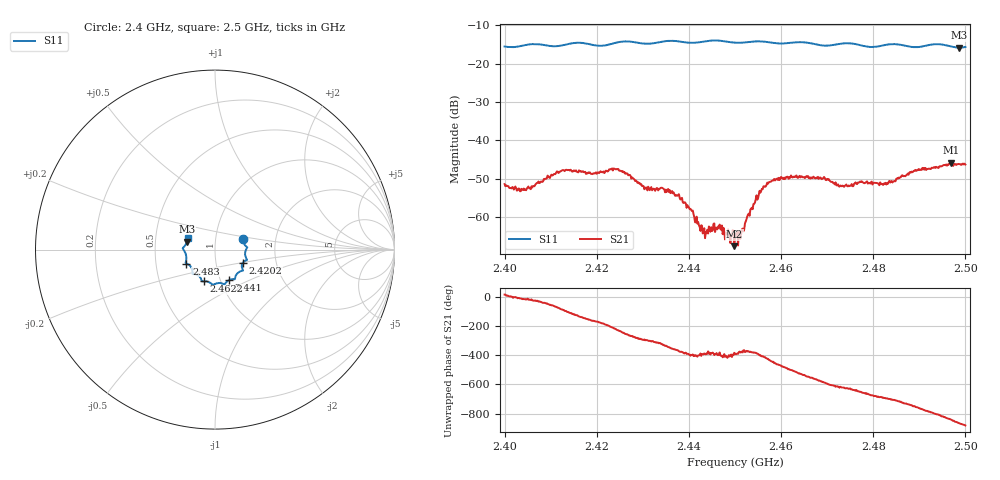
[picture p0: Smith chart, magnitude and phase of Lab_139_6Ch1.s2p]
# Hz S RI R 50
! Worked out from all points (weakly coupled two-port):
!   601 points, 2.4 GHz to 2.5 GHz, reference 50 ohm
!   highest |S21| = -45.80 dB at 2.4968 GHz (marker M1); lowest = -67.5 dB at 2.4498 GHz (marker M2)
!   lowest |S11| = -15.8 dB at 2.4987 GHz (marker M3), VSWR 1.39, Z = 36.4 + j3.28 ohm
!   |S11| at or under -10 dB: start of sweep to end of sweep
!   S12 and S22 are empty: the file has one direction only
!   S11 on the Smith chart (normalised r, x): 2.4 GHz: 1.36, +0.17; 2.4202 GHz: 1.35, -0.20; 2.441 GHz: 1.09, -0.39; 2.4622 GHz: 0.83, -0.30; 2.483 GHz: 0.72, -0.12; 2.5 GHz: 0.73, +0.09
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2.4e9  0.1565 0.0601  0.00262 0.00064  0 0  0 0
2.403833e9  0.1705 0.0207  0.00218 -0.000693  0 0  0 0
2.412333e9  0.1689 -0.0342  0.000152 -0.00403  0 0  0 0
2.416667e9  0.1775 -0.0584  -0.003 -0.00248  0 0  0 0
2.420167e9  0.1561 -0.0719  -0.00378 -0.000578  0 0  0 0
2.424167e9  0.1531 -0.1085  -0.00307 0.00288  0 0  0 0
2.433333e9  0.1128 -0.1524  0.00158 0.00158  0 0  0 0
2.438e9  0.1034 -0.1647  0.0017 -0.000518  0 0  0 0
2.441e9  0.0768 -0.1706  0.00076 -0.000807  0 0  0 0
2.4435e9  0.0588 -0.1863  0.000457 -0.000275  0 0  0 0
2.446667e9  0.0497 -0.1932  0.000745 -0.000297  0 0  0 0
2.449833e9  0.0285 -0.1862  0.000383 -0.000172  0 0  0 0
2.45e9  0.0268 -0.1862  0.000464 -0.000249  0 0  0 0
2.4515e9  0.012 -0.1875  0.000673 -0.000183  0 0  0 0
2.456667e9  -0.0168 -0.1922  0.00126 -0.00217  0 0  0 0
2.462167e9  -0.063 -0.1763  -0.00275 -0.00217  0 0  0 0
2.466667e9  -0.0766 -0.1669  -0.00312 0.00079  0 0  0 0
2.483e9  -0.1592 -0.0781  0.00253 0.00115  0 0  0 0
2.483333e9  -0.1607 -0.0774  0.0027 0.000983  0 0  0 0
2.496833e9  -0.1666 0.0227  -0.00263 -0.00441  0 0  0 0
2.498667e9  -0.1557 0.0439  -0.00405 -0.00278  0 0  0 0
2.5e9  -0.153 0.0626  -0.00458 -0.0016  0 0  0 0
